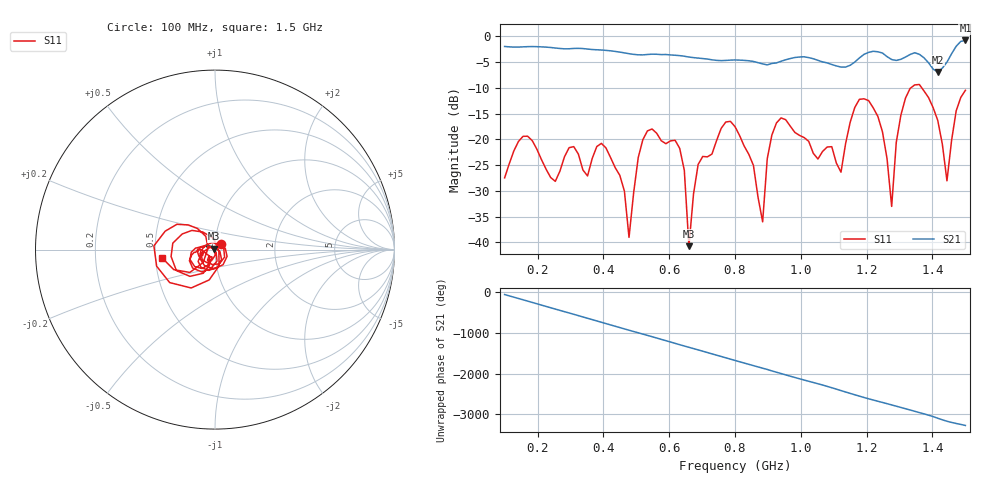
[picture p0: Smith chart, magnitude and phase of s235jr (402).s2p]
! NanoVNA-App
! Date: 2025-09-25 15:07:17
! Start: 100MHz Stop: 1,5GHz Points: 101
! S-Parameter data: F S11 S21 S12 S22
# Hz S RI R 50
!  Frequency  S11_Real  S11_Imag  S21_Real  S21_Imag  S12_Real  S12_Imag  S22_Real  S22_Imag
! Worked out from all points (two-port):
!   101 points, 100 MHz to 1.5 GHz, reference 50 ohm
!   highest |S21| = -0.80 dB at 1.5 GHz (marker M1); lowest = -6.9 dB at 1.416 GHz (marker M2)
!   |S21| within 3 dB of the highest: start of sweep to 638.6 MHz; 1.186 GHz to 1.259 GHz (73.33 MHz wide, 6 % of centre) (the widest 2 of 4)
!   lowest |S11| = -40.7 dB at 660 MHz (marker M3), VSWR 1.02, Z = 49.3 + j0.544 ohm
!   |S11| at or under -10 dB: start of sweep to 1.334 GHz; 1.367 GHz to end of sweep
!   S12 and S22 are empty: the file has one direction only
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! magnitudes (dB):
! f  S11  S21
! 100 MHz  -27.5  -2.0
! 156 MHz  -19.4  -2.0
! 338 MHz  -25.9  -2.4
! 408 MHz  -21.7  -2.7
! 478 MHz  -39.0  -3.4
! 520 MHz  -20.1  -3.6
! 576 MHz  -20.3  -3.5
! 632 MHz  -21.7  -3.7
! 660 MHz  -40.7  -4.0
! 688 MHz  -24.9  -4.2
! 800 MHz  -17.5  -4.6
! 884 MHz  -36.0  -5.3
! 926 MHz  -16.8  -5.2
! 1.038 GHz  -22.7  -4.3
! 1.122 GHz  -26.4  -6.0
! 1.206 GHz  -12.5  -3.1
! 1.276 GHz  -33.0  -4.5
! 1.29 GHz  -20.6  -4.7
! 1.332 GHz  -10.1  -3.5
! 1.416 GHz  -16.3  -6.9
! 1.444 GHz  -28.0  -5.0
! 1.5 GHz  -10.5  -0.8
